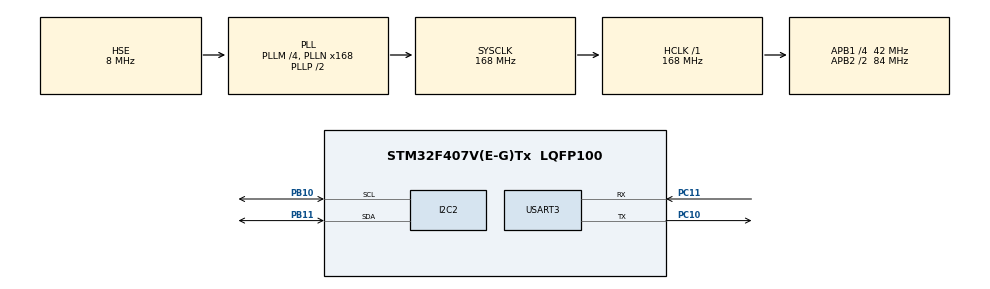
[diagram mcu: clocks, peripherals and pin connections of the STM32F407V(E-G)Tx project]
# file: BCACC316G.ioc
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Mcu.Family=STM32F4
Mcu.Name=STM32F407V(E-G)Tx
Mcu.Package=LQFP100
NVIC.PriorityGroup=NVIC_PRIORITYGROUP_4
PB10.Mode=I2C
PB10.Signal=I2C2_SCL
PB11.Mode=I2C
PB11.Signal=I2C2_SDA
PC10.Mode=Asynchronous
PC10.Signal=USART3_TX
PC11.Mode=Asynchronous
PC11.Signal=USART3_RX
PH0-OSC_IN.Mode=HSE-External-Oscillator
PH0-OSC_IN.Signal=RCC_OSC_IN
PH1-OSC_OUT.Mode=HSE-External-Oscillator
PH1-OSC_OUT.Signal=RCC_OSC_OUT
ProjectManager.HeapSize=0x200
ProjectManager.StackSize=0x400
ProjectManager.TargetToolchain=MDK-ARM V5
RCC.48MHZClocksFreq_Value=84000000
RCC.AHBFreq_Value=168000000
RCC.APB1CLKDivider=RCC_HCLK_DIV4
RCC.APB1Freq_Value=42000000
RCC.APB1TimFreq_Value=84000000
RCC.APB2CLKDivider=RCC_HCLK_DIV2
RCC.APB2Freq_Value=84000000
RCC.APB2TimFreq_Value=168000000
RCC.CortexFreq_Value=168000000
RCC.HCLKFreq_Value=168000000
RCC.HSE_VALUE=8000000
RCC.HSI_VALUE=16000000
RCC.LSE_VALUE=32768
RCC.PLLM=4
RCC.PLLN=168
RCC.PLLSourceVirtual=RCC_PLLSOURCE_HSE
RCC.SYSCLKFreq_VALUE=168000000
RCC.SYSCLKSource=RCC_SYSCLKSOURCE_PLLCLK
RCC.VCOOutputFreq_Value=336000000
USART3.VirtualMode=VM_ASYNC
board=custom

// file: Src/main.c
/* USER CODE BEGIN Header */
/**
  ******************************************************************************
  * @file           : main.c
  * @brief          : Main program body
  ******************************************************************************
  ** This notice applies to any and all portions of this file
  * that are not between comment pairs USER CODE BEGIN and
  * USER CODE END. Other portions of this file, whether
  * inserted by the user or by software development tools
  * are owned by their respective copyright owners.
  *
  * COPYRIGHT(c) 2019 STMicroelectronics
  *
  * Redistribution and use in source and binary forms, with or without modification,
  * are permitted provided that the following conditions are met:
  *   1. Redistributions of source code must retain the above copyright notice,
  *      this list of conditions and the following disclaimer.
  *   2. Redistributions in binary form must reproduce the above copyright notice,
  *      this list of conditions and the following disclaimer in the documentation
  *      and/or other materials provided with the distribution.
  *   3. Neither the name of STMicroelectronics nor the names of its contributors
  *      may be used to endorse or promote products derived from this software
  *      without specific prior written permission.
  *
  * THIS SOFTWARE IS PROVIDED BY THE COPYRIGHT HOLDERS AND CONTRIBUTORS "AS IS"
  * AND ANY EXPRESS OR IMPLIED WARRANTIES, INCLUDING, BUT NOT LIMITED TO, THE
  * IMPLIED WARRANTIES OF MERCHANTABILITY AND FITNESS FOR A PARTICULAR PURPOSE ARE
  * DISCLAIMED. IN NO EVENT SHALL THE COPYRIGHT HOLDER OR CONTRIBUTORS BE LIABLE
  * FOR ANY DIRECT, INDIRECT, INCIDENTAL, SPECIAL, EXEMPLARY, OR CONSEQUENTIAL
  * DAMAGES (INCLUDING, BUT NOT LIMITED TO, PROCUREMENT OF SUBSTITUTE GOODS OR
  * SERVICES; LOSS OF USE, DATA, OR PROFITS; OR BUSINESS INTERRUPTION) HOWEVER
  * CAUSED AND ON ANY THEORY OF LIABILITY, WHETHER IN CONTRACT, STRICT LIABILITY,
  * OR TORT (INCLUDING NEGLIGENCE OR OTHERWISE) ARISING IN ANY WAY OUT OF THE USE
  * OF THIS SOFTWARE, EVEN IF ADVISED OF THE POSSIBILITY OF SUCH DAMAGE.
  *
  ******************************************************************************
  */
/* USER CODE END Header */
#include "main.h"
/* USER CODE BEGIN Includes */
#include <stdio.h>
#include "BCACC316G.h"
/* USER CODE END Includes */

/* USER CODE BEGIN PD */
#define BCACC316G_ADDR 0x53 //ADXL343
/* USER CODE END PD */

I2C_HandleTypeDef hi2c2;

UART_HandleTypeDef huart3;

void SystemClock_Config(void);
static void MX_GPIO_Init(void);
static void MX_I2C2_Init(void);
static void MX_USART3_UART_Init(void);
/* USER CODE BEGIN PFP */
void sensorInitialize(void);
void readSensorData(void);
/* USER CODE END PFP */

/* USER CODE BEGIN 0 */
int fputc(int ch, FILE *f)
{
	HAL_UART_Transmit(&huart3, (uint8_t *)&ch, 1, 0xFFFF);

	return ch;
}
/* USER CODE END 0 */

int main(void)
{

  /* MCU Configuration--------------------------------------------------------*/

  /* Reset of all peripherals, Initializes the Flash interface and the Systick. */
  HAL_Init();

  /* Configure the system clock */
  SystemClock_Config();

  /* Initialize all configured peripherals */
  MX_GPIO_Init();
  MX_I2C2_Init();
  MX_USART3_UART_Init();
  /* USER CODE BEGIN 2 */
	sensorInitialize();
  /* USER CODE END 2 */

  /* Infinite loop */
  /* USER CODE BEGIN WHILE */
  while (1)
  {
		readSensorData();
		HAL_Delay(1000);
    /* USER CODE END WHILE */

  }
}

void SystemClock_Config(void)
{
  RCC_OscInitTypeDef RCC_OscInitStruct = {0};
  RCC_ClkInitTypeDef RCC_ClkInitStruct = {0};

  /**Configure the main internal regulator output voltage
  */
  __HAL_RCC_PWR_CLK_ENABLE();
  __HAL_PWR_VOLTAGESCALING_CONFIG(PWR_REGULATOR_VOLTAGE_SCALE1);
  /**Initializes the CPU, AHB and APB busses clocks
  */
  RCC_OscInitStruct.OscillatorType = RCC_OSCILLATORTYPE_HSE;
  RCC_OscInitStruct.HSEState = RCC_HSE_ON;
  RCC_OscInitStruct.PLL.PLLState = RCC_PLL_ON;
  RCC_OscInitStruct.PLL.PLLSource = RCC_PLLSOURCE_HSE;
  RCC_OscInitStruct.PLL.PLLM = 4;
  RCC_OscInitStruct.PLL.PLLN = 168;
  RCC_OscInitStruct.PLL.PLLP = RCC_PLLP_DIV2;
  RCC_OscInitStruct.PLL.PLLQ = 4;
  if (HAL_RCC_OscConfig(&RCC_OscInitStruct) != HAL_OK)
  {
    Error_Handler();
  }
  /**Initializes the CPU, AHB and APB busses clocks
  */
  RCC_ClkInitStruct.ClockType = RCC_CLOCKTYPE_HCLK|RCC_CLOCKTYPE_SYSCLK
                              |RCC_CLOCKTYPE_PCLK1|RCC_CLOCKTYPE_PCLK2;
  RCC_ClkInitStruct.SYSCLKSource = RCC_SYSCLKSOURCE_PLLCLK;
  RCC_ClkInitStruct.AHBCLKDivider = RCC_SYSCLK_DIV1;
  RCC_ClkInitStruct.APB1CLKDivider = RCC_HCLK_DIV4;
  RCC_ClkInitStruct.APB2CLKDivider = RCC_HCLK_DIV2;

  if (HAL_RCC_ClockConfig(&RCC_ClkInitStruct, FLASH_LATENCY_5) != HAL_OK)
  {
    Error_Handler();
  }
}

static void MX_I2C2_Init(void)
{

  hi2c2.Instance = I2C2;
  hi2c2.Init.ClockSpeed = 100000;
  hi2c2.Init.DutyCycle = I2C_DUTYCYCLE_2;
  hi2c2.Init.OwnAddress1 = 0;
  hi2c2.Init.AddressingMode = I2C_ADDRESSINGMODE_7BIT;
  hi2c2.Init.DualAddressMode = I2C_DUALADDRESS_DISABLE;
  hi2c2.Init.OwnAddress2 = 0;
  hi2c2.Init.GeneralCallMode = I2C_GENERALCALL_DISABLE;
  hi2c2.Init.NoStretchMode = I2C_NOSTRETCH_DISABLE;
  if (HAL_I2C_Init(&hi2c2) != HAL_OK)
  {
    Error_Handler();
  }

}

static void MX_USART3_UART_Init(void)
{

  huart3.Instance = USART3;
  huart3.Init.BaudRate = 115200;
  huart3.Init.WordLength = UART_WORDLENGTH_8B;
  huart3.Init.StopBits = UART_STOPBITS_1;
  huart3.Init.Parity = UART_PARITY_NONE;
  huart3.Init.Mode = UART_MODE_TX_RX;
  huart3.Init.HwFlowCtl = UART_HWCONTROL_NONE;
  huart3.Init.OverSampling = UART_OVERSAMPLING_16;
  if (HAL_UART_Init(&huart3) != HAL_OK)
  {
    Error_Handler();
  }

}

static void MX_GPIO_Init(void)
{

  /* GPIO Ports Clock Enable */
  __HAL_RCC_GPIOH_CLK_ENABLE();
  __HAL_RCC_GPIOB_CLK_ENABLE();
  __HAL_RCC_GPIOC_CLK_ENABLE();

}

/* USER CODE BEGIN 4 */
void sensorInitialize(void){
  printf("[BCACC316G] 3axis accletormeter Enabled\n");

	BCACC316G_init(BCACC316G_ADDR, &hi2c2);

	BCACC316G_powerOn();

  //set activity/ inactivity thresholds (0-255)
  BCACC316G_setActivityThreshold(75); //62.5mg per increment
  BCACC316G_setInactivityThreshold(75); //62.5mg per increment
  BCACC316G_setTimeInactivity(10); // how many seconds of no activity is inactive?

  //look of activity movement on this axes - 1 == on; 0 == off
  BCACC316G_setActivityX(1);
  BCACC316G_setActivityY(1);
  BCACC316G_setActivityZ(1);

  //look of inactivity movement on this axes - 1 == on; 0 == off
  BCACC316G_setInactivityX(1);
  BCACC316G_setInactivityY(1);
  BCACC316G_setInactivityZ(1);

  //look of tap movement on this axes - 1 == on; 0 == off
  BCACC316G_setTapDetectionOnX(0);
  BCACC316G_setTapDetectionOnY(0);
  BCACC316G_setTapDetectionOnZ(1);

  //set values for what is a tap, and what is a double tap (0-255)
  BCACC316G_setTapThreshold(50); //62.5mg per increment
  BCACC316G_setTapDuration(15); //625レs per increment
  BCACC316G_setDoubleTapLatency(80); //1.25ms per increment
  BCACC316G_setDoubleTapWindow(200); //1.25ms per increment

  //set values for what is considered freefall (0-255)
  BCACC316G_setFreeFallThreshold(7); //(5 - 9) recommended - 62.5mg per increment
  BCACC316G_setFreeFallDuration(45); //(20 - 70) recommended - 5ms per increment

  //setting all interupts to take place on int pin 1
  //I had issues with int pin 2, was unable to reset it
  BCACC316G_setInterruptMapping( BCACC316G_INT_SINGLE_TAP_BIT, BCACC316G_INT1_PIN );
  BCACC316G_setInterruptMapping( BCACC316G_INT_DOUBLE_TAP_BIT, BCACC316G_INT1_PIN );
  BCACC316G_setInterruptMapping( BCACC316G_INT_FREE_FALL_BIT, BCACC316G_INT1_PIN );
  BCACC316G_setInterruptMapping( BCACC316G_INT_ACTIVITY_BIT, BCACC316G_INT1_PIN );
  BCACC316G_setInterruptMapping( BCACC316G_INT_INACTIVITY_BIT, BCACC316G_INT1_PIN );

  //register interupt actions - 1 == on; 0 == off
  BCACC316G_setInterrupt( BCACC316G_INT_SINGLE_TAP_BIT, 1);
  BCACC316G_setInterrupt( BCACC316G_INT_DOUBLE_TAP_BIT, 1);
  BCACC316G_setInterrupt( BCACC316G_INT_FREE_FALL_BIT, 1);
  BCACC316G_setInterrupt( BCACC316G_INT_ACTIVITY_BIT, 1);
  BCACC316G_setInterrupt( BCACC316G_INT_INACTIVITY_BIT, 1);

  printf("Initialized BC Sensors Series\n");
  printf("\n");
  printf("\n");
}

void readSensorData()
{
  int x,y,z;
  BCACC316G_readAccel_seperate(&x, &y, &z); //read the accelerometer values and store them in variables x,y,z

  // Output x,y,z values - Commented out
  printf("[BCACC316G] x : %d   y : %d   z : %d\n\r", x, y, z);

  //Fun Stuff!
  //read interrupts source and look for triggerd actions

  //getInterruptSource clears all triggered actions after returning value
  //so do not call again until you need to recheck for triggered actions
  uint8_t interrupts = BCACC316G_getInterruptSource(0, 0);

  // freefall
  if(BCACC316G_triggered(interrupts, BCACC316G_FREE_FALL))
  {
      printf(" (freefall)");
  }

  //inactivity
  if(BCACC316G_triggered(interrupts, BCACC316G_INACTIVITY))
  {
      printf(" (inactivity)");
  }

  //activity
  if(BCACC316G_triggered(interrupts, BCACC316G_ACTIVITY))
  {
      printf(" (activity)");
  }

  //double tap
  if(BCACC316G_triggered(interrupts, BCACC316G_DOUBLE_TAP))
  {
      printf(" (double tap)");
  }

  //tap
  if(BCACC316G_triggered(interrupts, BCACC316G_SINGLE_TAP))
  {
      printf("(tap)");
  }
  printf("\n\r");
}
/* USER CODE END 4 */

void Error_Handler(void)
{
}

/************************ (C) COPYRIGHT STMicroelectronics *****END OF FILE****/
